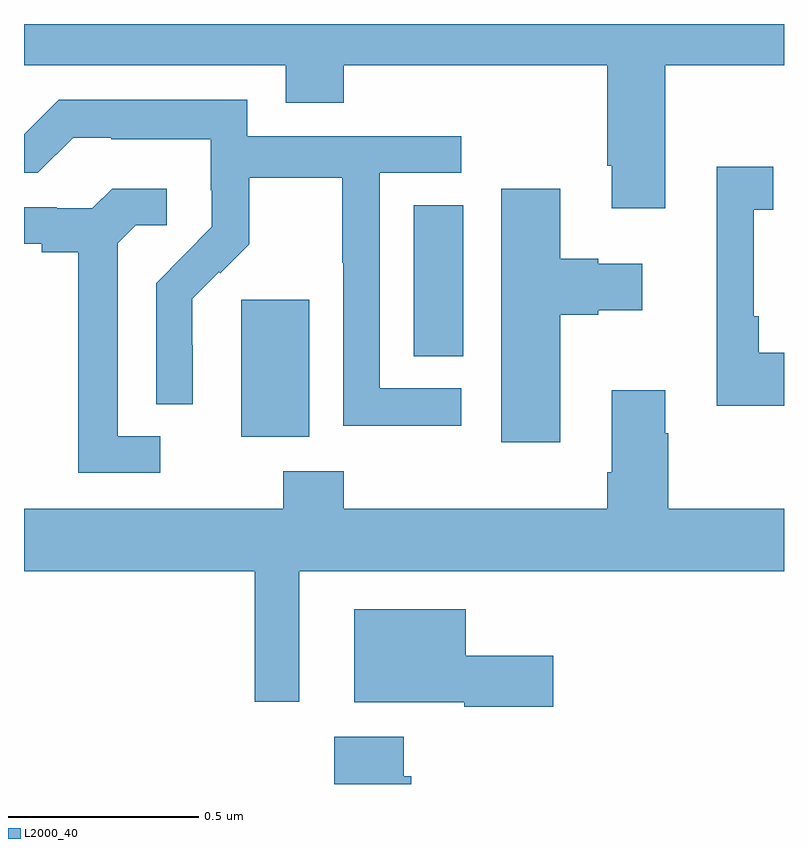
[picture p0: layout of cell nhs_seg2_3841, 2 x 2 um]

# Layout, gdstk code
import gdstk
lib = gdstk.Library(unit=1e-6, precision=1e-09)
def R(c, l, rs):  # rectangles x0, y0, x1, y1
    for r in rs: c.add(gdstk.rectangle(r[:2], r[2:], *l))
def P(c, l, *ps):  # polygons
    for p in ps: c.add(gdstk.Polygon(p, *l))
L2000_40 = (2000, 40)

nhs_seg2_3841 = lib.new_cell('nhs_seg2_3841')
R(nhs_seg2_3841, L2000_40, [(159.572,590.714,159.751,591.075), (160.025,590.926,160.156,591.323)])
P(nhs_seg2_3841, L2000_40, [(160.687,591.692),(161,591.692),(161,591.8),(159,591.8),(159,591.692),(159.689,591.692),(159.689,591.593),(159.842,591.593),(159.842,591.692),(160.535,591.692),(160.535,591.427),(160.547,591.427),(160.547,591.315),(160.687,591.315)],
  [(160.15,590.841),(159.936,590.841),(159.936,591.408),(160.15,591.408),(160.15,591.504),(159.588,591.504),(159.588,591.601),(159.091,591.601),(159,591.51),(159,591.408),(159.036,591.408),(159.129,591.501),(159.229,591.501),(159.229,591.497),(159.492,591.497),(159.492,591.363),(159.494,591.363),(159.494,591.266),(159.42,591.192),(159.421,591.191),(159.348,591.118),(159.348,590.8),(159.444,590.8),(159.444,590.954),(159.443,590.954),(159.443,591.077),(159.513,591.147),(159.516,591.144),(159.593,591.221),(159.593,591.396),(159.838,591.396),(159.838,591.172),(159.84,591.172),(159.84,590.743),(160.15,590.743)],
  [(161,590.935),(160.933,590.935),(160.933,591.031),(160.92,591.031),(160.92,591.311),(160.972,591.311),(160.972,591.424),(160.823,591.424),(160.823,590.795),(161,590.795)],
  [(160.411,591.035),(160.511,591.035),(160.511,591.047),(160.627,591.047),(160.627,591.169),(160.511,591.169),(160.511,591.182),(160.411,591.182),(160.411,591.367),(160.256,591.367),(160.256,590.7),(160.411,590.7)],
  [(159.358,590.715),(159.247,590.715),(159.247,591.223),(159.294,591.27),(159.376,591.27),(159.376,591.367),(159.232,591.367),(159.18,591.315),(159.086,591.315),(159.086,591.318),(159,591.318),(159,591.222),(159.047,591.222),(159.047,591.2),(159.143,591.2),(159.143,590.619),(159.358,590.619)],
  [(159.724,590.36),(161,590.36),(161,590.524),(160.695,590.524),(160.695,590.723),(160.687,590.723),(160.687,590.836),(160.547,590.836),(160.547,590.62),(160.535,590.62),(160.535,590.524),(159.842,590.524),(159.842,590.623),(159.682,590.623),(159.682,590.524),(159,590.524),(159,590.36),(159.607,590.36),(159.607,590.016),(159.724,590.016)],
  [(160.393,590.137),(160.162,590.137),(160.162,590.26),(159.869,590.26),(159.869,590.015),(160.158,590.015),(160.158,590.003),(160.393,590.003)],
  [(160.019,589.82),(159.999,589.82),(159.999,589.924),(159.816,589.924),(159.816,589.8),(160.019,589.8)])

lib.write_gds('nhs_seg2_3841.gds')
